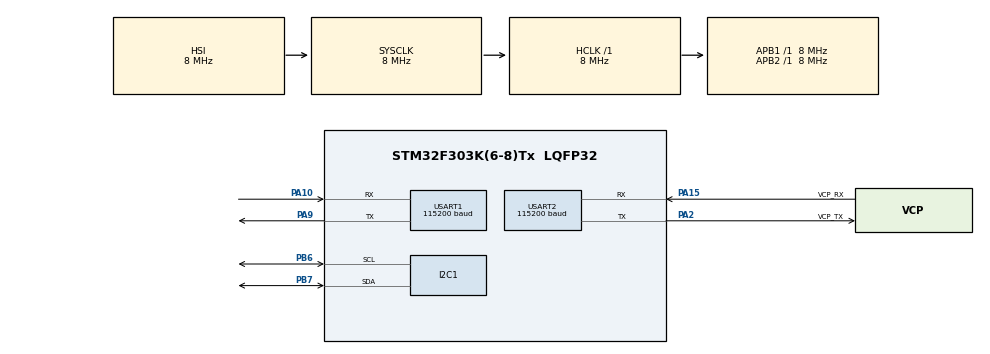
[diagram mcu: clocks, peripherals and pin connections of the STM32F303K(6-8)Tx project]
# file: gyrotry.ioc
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Mcu.Family=STM32F3
Mcu.Name=STM32F303K(6-8)Tx
Mcu.Package=LQFP32
NVIC.PriorityGroup=NVIC_PRIORITYGROUP_4
PA10.Mode=Asynchronous
PA10.Signal=USART1_RX
PA13.GPIO_Label=SWDIO
PA13.Mode=Serial_Wire
PA13.Signal=SYS_JTMS-SWDIO
PA14.GPIO_Label=SWCLK
PA14.Mode=Serial_Wire
PA14.Signal=SYS_JTCK-SWCLK
PA15.GPIO_Label=VCP_RX
PA15.Mode=Asynchronous
PA15.Signal=USART2_RX
PA2.GPIO_Label=VCP_TX
PA2.Mode=Asynchronous
PA2.Signal=USART2_TX
PA9.Mode=Asynchronous
PA9.Signal=USART1_TX
PB6.Mode=I2C
PB6.Signal=I2C1_SCL
PB7.Mode=I2C
PB7.Signal=I2C1_SDA
PF0\ /\ OSC_IN.GPIO_Label=MCO
PF0\ /\ OSC_IN.Mode=HSE-External-Clock-Source
PF0\ /\ OSC_IN.Signal=RCC_OSC_IN
ProjectManager.HeapSize=0x200
ProjectManager.StackSize=0x400
ProjectManager.TargetToolchain=STM32CubeIDE
RCC.AHBFreq_Value=8000000
RCC.APB1Freq_Value=8000000
RCC.APB2Freq_Value=8000000
RCC.CortexFreq_Value=8000000
RCC.HSE_VALUE=8000000
RCC.HSI_VALUE=8000000
RCC.SYSCLKFreq_VALUE=8000000
USART1.BaudRate=115200
USART1.VirtualMode-Asynchronous=VM_ASYNC
USART2.BaudRate=115200
USART2.VirtualMode-Asynchronous=VM_ASYNC
board=NUCLEO-F303K8

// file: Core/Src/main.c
/* USER CODE BEGIN Header */
/**
 ******************************************************************************
 * @file           : main.c
 * @brief          : Main program body
 ******************************************************************************
 * @attention
 *
 * Copyright (c) 2024 STMicroelectronics.
 * All rights reserved.
 *
 * This software is licensed under terms that can be found in the LICENSE file
 * in the root directory of this software component.
 * If no LICENSE file comes with this software, it is provided AS-IS.
 *
 ******************************************************************************
 */
/* USER CODE END Header */
#include "main.h"
#include "MPU6050.h"

I2C_HandleTypeDef hi2c1;

UART_HandleTypeDef huart1;
UART_HandleTypeDef huart2;

void SystemClock_Config(void);
static void MX_GPIO_Init(void);
static void MX_USART2_UART_Init(void);
static void MX_I2C1_Init(void);
static void MX_USART1_UART_Init(void);

int main(void) {

	/* MCU Configuration--------------------------------------------------------*/

	/* Reset of all peripherals, Initializes the Flash interface and the Systick. */
	HAL_Init();

	/* Configure the system clock */
	SystemClock_Config();

	/* Initialize all configured peripherals */
	MX_GPIO_Init();
	MX_USART2_UART_Init();
	MX_I2C1_Init();
	MX_USART1_UART_Init();
	/* USER CODE BEGIN 2 */
	char str[20];
#define Gyro_X -22
#define Gyro_Y -2
#define Gyro_Z -8
#define Accel_Z 1225
	static uint8_t mpuIntStatus;
	static bool dmpReady = false;
	uint16_t fifoCount;
	uint8_t fifoBuffer[64]={0};
	static uint16_t packetSize;
//	Quaternion q;
//	VectorFloat gravity;
//	float ypr[3];
//	int degree;
	int16_t Gyro_Now = 0, Gyro = 0, Gyro_Offset = 0;

	/* USER CODE END 2 */

	/* Infinite loop */
	MPU6050_setAddress(0x68);
	MPU6050_initialize();
	if (MPU6050_testConnection() != true){
		HAL_UART_Transmit(&huart2, (uint8_t*)"disconectoin\r\n", 10, 1000);
		while (true) {}
	}
	\
	MPU6050_setXGyroOffset(Gyro_X);
	MPU6050_setYGyroOffset(Gyro_Y);
	MPU6050_setZGyroOffset(Gyro_Z);
	MPU6050_setZAccelOffset(Accel_Z);
	MPU6050_setDMPEnabled(true);
	mpuIntStatus = MPU6050_getIntStatus();
	dmpReady = true;
	packetSize = 42;//mpu.dmpGetFIFOPacketSize();
	/* USER CODE BEGIN WHILE */

	dmpReady = true;
	while (1) {

		mpuIntStatus = false;
		mpuIntStatus = MPU6050_getIntStatus();
		fifoCount = MPU6050_getFIFOCount();
		if ((mpuIntStatus & 0x10) || fifoCount == 1024) {
			MPU6050_resetFIFO();
			HAL_UART_Transmit(&huart2, (uint8_t*)"error\r\n", 10, 1000);
		} else if (mpuIntStatus & 0x02) {
			HAL_UART_Transmit(&huart2, (uint8_t*)"safe\r\n", 10, 1000);
			while (fifoCount < packetSize)
				fifoCount = MPU6050_getFIFOCount();
			MPU6050_getFIFOBytes(fifoBuffer, packetSize);
//			fifoCount -= packetSize;
//			mpu.dmpGetQuaternion(&q, fifoBuffer);
//			mpu.dmpGetGravity(&gravity, &q);
//			mpu.dmpGetYawPitchRoll(ypr, &q, &gravity);
//			Gyro_Now = degrees(ypr[0]); // + 180;
//			Gyro = Gyro_Now + Gyro_Offset;
//			if (Gyro < 0)
//				Gyro += 360;
//			if (Gyro > 359)
//				Gyro = Gyro - 360;
//			degree = Gyro;
		}else{
			HAL_UART_Transmit(&huart2, (uint8_t*)"error2\r\n", 10, 1000);
		}
		int intbuff=fifoBuffer[4];
		sprintf(str, "%d\n\r", intbuff);
		HAL_UART_Transmit(&huart2, &str, strlen(str), 1000);
		/* USER CODE END WHILE */

	}
}

void SystemClock_Config(void) {
	RCC_OscInitTypeDef RCC_OscInitStruct = { 0 };
	RCC_ClkInitTypeDef RCC_ClkInitStruct = { 0 };
	RCC_PeriphCLKInitTypeDef PeriphClkInit = { 0 };

	/** Initializes the RCC Oscillators according to the specified parameters
	 * in the RCC_OscInitTypeDef structure.
	 */
	RCC_OscInitStruct.OscillatorType = RCC_OSCILLATORTYPE_HSI;
	RCC_OscInitStruct.HSIState = RCC_HSI_ON;
	RCC_OscInitStruct.HSICalibrationValue = RCC_HSICALIBRATION_DEFAULT;
	RCC_OscInitStruct.PLL.PLLState = RCC_PLL_NONE;
	if (HAL_RCC_OscConfig(&RCC_OscInitStruct) != HAL_OK) {
		Error_Handler();
	}

	/** Initializes the CPU, AHB and APB buses clocks
	 */
	RCC_ClkInitStruct.ClockType = RCC_CLOCKTYPE_HCLK | RCC_CLOCKTYPE_SYSCLK
			| RCC_CLOCKTYPE_PCLK1 | RCC_CLOCKTYPE_PCLK2;
	RCC_ClkInitStruct.SYSCLKSource = RCC_SYSCLKSOURCE_HSI;
	RCC_ClkInitStruct.AHBCLKDivider = RCC_SYSCLK_DIV1;
	RCC_ClkInitStruct.APB1CLKDivider = RCC_HCLK_DIV1;
	RCC_ClkInitStruct.APB2CLKDivider = RCC_HCLK_DIV1;

	if (HAL_RCC_ClockConfig(&RCC_ClkInitStruct, FLASH_LATENCY_0) != HAL_OK) {
		Error_Handler();
	}
	PeriphClkInit.PeriphClockSelection = RCC_PERIPHCLK_USART1
			| RCC_PERIPHCLK_I2C1;
	PeriphClkInit.Usart1ClockSelection = RCC_USART1CLKSOURCE_PCLK1;
	PeriphClkInit.I2c1ClockSelection = RCC_I2C1CLKSOURCE_HSI;
	if (HAL_RCCEx_PeriphCLKConfig(&PeriphClkInit) != HAL_OK) {
		Error_Handler();
	}
}

static void MX_I2C1_Init(void) {

	hi2c1.Instance = I2C1;
	hi2c1.Init.Timing = 0x2000090E;
	hi2c1.Init.OwnAddress1 = 0;
	hi2c1.Init.AddressingMode = I2C_ADDRESSINGMODE_7BIT;
	hi2c1.Init.DualAddressMode = I2C_DUALADDRESS_DISABLE;
	hi2c1.Init.OwnAddress2 = 0;
	hi2c1.Init.OwnAddress2Masks = I2C_OA2_NOMASK;
	hi2c1.Init.GeneralCallMode = I2C_GENERALCALL_DISABLE;
	hi2c1.Init.NoStretchMode = I2C_NOSTRETCH_DISABLE;
	if (HAL_I2C_Init(&hi2c1) != HAL_OK) {
		Error_Handler();
	}

	/** Configure Analogue filter
	 */
	if (HAL_I2CEx_ConfigAnalogFilter(&hi2c1, I2C_ANALOGFILTER_ENABLE)
			!= HAL_OK) {
		Error_Handler();
	}

	/** Configure Digital filter
	 */
	if (HAL_I2CEx_ConfigDigitalFilter(&hi2c1, 0) != HAL_OK) {
		Error_Handler();
	}

}

static void MX_USART1_UART_Init(void) {

	huart1.Instance = USART1;
	huart1.Init.BaudRate = 115200;
	huart1.Init.WordLength = UART_WORDLENGTH_8B;
	huart1.Init.StopBits = UART_STOPBITS_1;
	huart1.Init.Parity = UART_PARITY_NONE;
	huart1.Init.Mode = UART_MODE_TX_RX;
	huart1.Init.HwFlowCtl = UART_HWCONTROL_NONE;
	huart1.Init.OverSampling = UART_OVERSAMPLING_16;
	huart1.Init.OneBitSampling = UART_ONE_BIT_SAMPLE_DISABLE;
	huart1.AdvancedInit.AdvFeatureInit = UART_ADVFEATURE_NO_INIT;
	if (HAL_UART_Init(&huart1) != HAL_OK) {
		Error_Handler();
	}

}

static void MX_USART2_UART_Init(void) {

	huart2.Instance = USART2;
	huart2.Init.BaudRate = 115200;
	huart2.Init.WordLength = UART_WORDLENGTH_8B;
	huart2.Init.StopBits = UART_STOPBITS_1;
	huart2.Init.Parity = UART_PARITY_NONE;
	huart2.Init.Mode = UART_MODE_TX_RX;
	huart2.Init.HwFlowCtl = UART_HWCONTROL_NONE;
	huart2.Init.OverSampling = UART_OVERSAMPLING_16;
	huart2.Init.OneBitSampling = UART_ONE_BIT_SAMPLE_DISABLE;
	huart2.AdvancedInit.AdvFeatureInit = UART_ADVFEATURE_NO_INIT;
	if (HAL_UART_Init(&huart2) != HAL_OK) {
		Error_Handler();
	}

}

static void MX_GPIO_Init(void) {

	/* GPIO Ports Clock Enable */
	__HAL_RCC_GPIOF_CLK_ENABLE();
	__HAL_RCC_GPIOA_CLK_ENABLE();
	__HAL_RCC_GPIOB_CLK_ENABLE();

}

void Error_Handler(void) {
	__disable_irq();
	while (1) {
	}
}
